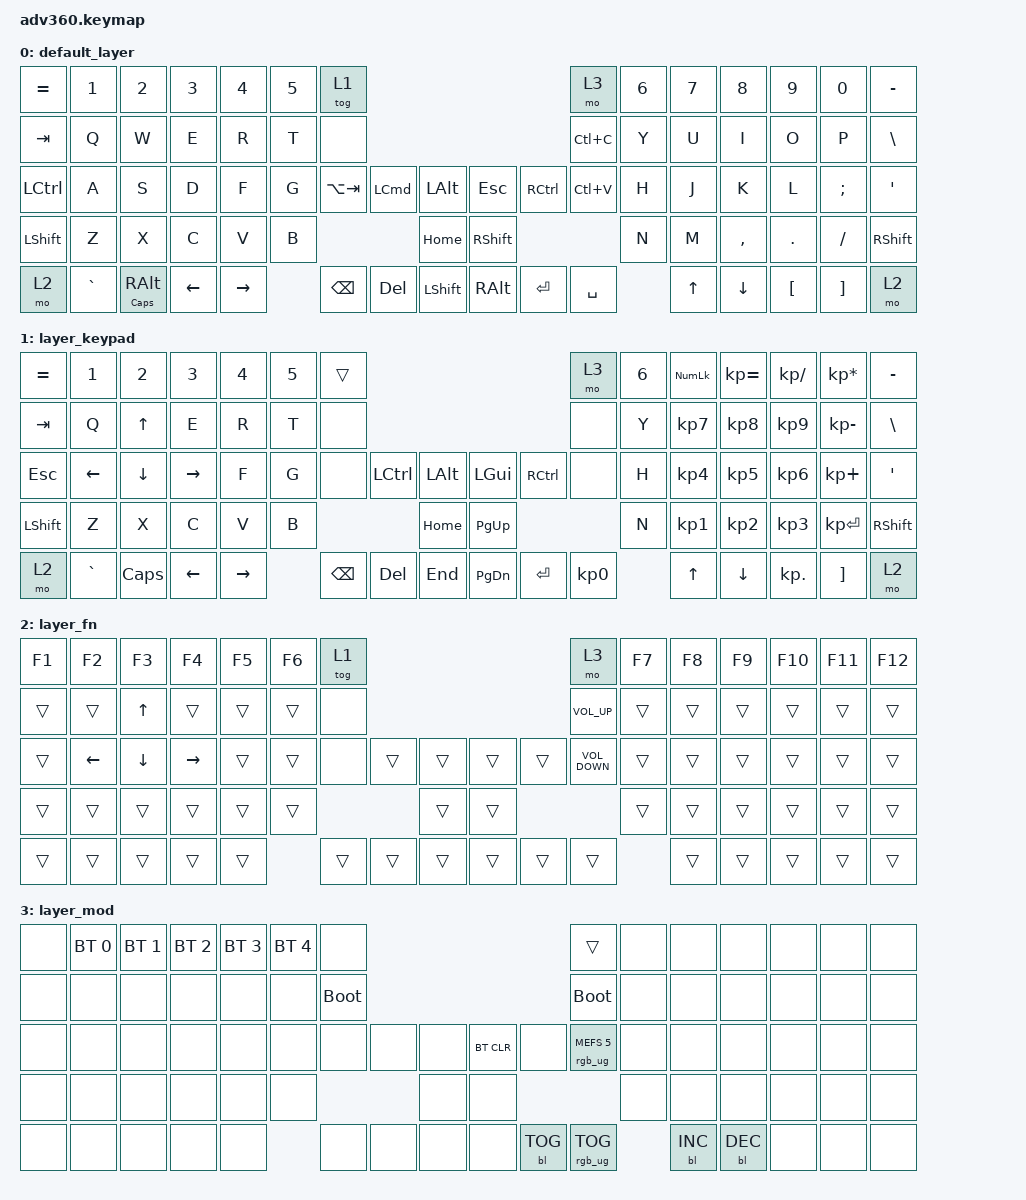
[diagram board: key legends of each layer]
/*
 * Copyright (c) 2020 The ZMK Contributors
 *
 * SPDX-License-Identifier: MIT
 */
/* THIS FILE WAS GENERATED!
 *
 * This file was generated automatically. You may or may not want to
 * edit it directly.
 */

#include <behaviors.dtsi>
#include <dt-bindings/zmk/backlight.h>
#include <dt-bindings/zmk/bt.h>
#include <dt-bindings/zmk/keys.h>
#include <dt-bindings/zmk/rgb.h>

/ {
    behaviors {
        #include "macros.dtsi"
    #include "version.dtsi"

        hm: homerow_mods {
            compatible = "zmk,behavior-hold-tap";
            label = "HOMEROW_MODS";
            #binding-cells = <2>;
            tapping-term-ms = <200>;
            quick_tap_ms = <150>;
            flavor = "tap-preferred";
            bindings = <&kp>, <&kp>;
        };
    };

    combos {
        compatible = "zmk,combos";

        questionmark_kl {
            bindings = <&kp QUESTION>;
            key-positions = <42 43>;
        };

        exclamationmark_sd {
            bindings = <&kp EXCLAMATION>;
            key-positions = <30 31>;
        };
    };

    keymap {
        compatible = "zmk,keymap";

        default_layer {
            bindings = <
&kp EQUAL  &kp N1     &kp N2              &kp N3    &kp N4     &kp N5  &tog 1                                                                           &mo 3      &kp N6  &kp N7  &kp N8     &kp N9    &kp N0    &kp MINUS
&kp TAB    &kp Q      &kp W               &kp E     &kp R      &kp T   &none                                                                            &kp LC(C)  &kp Y   &kp U   &kp I      &kp O     &kp P     &kp BSLH
&kp LCTRL  &kp A      &kp S               &kp D     &kp F      &kp G   &kp LA(TAB)    &kp LEFT_COMMAND  &kp LEFT_ALT        &kp ESCAPE       &kp RCTRL  &kp LC(V)  &kp H   &kp J   &kp K      &kp L     &kp SEMI  &kp SQT
&kp LSHFT  &kp Z      &kp X               &kp C     &kp V      &kp B                                    &kp HOME            &kp RIGHT_SHIFT                        &kp N   &kp M   &kp COMMA  &kp DOT   &kp FSLH  &kp RSHFT
&mo 2      &kp GRAVE  &mt CAPS RIGHT_ALT  &kp LEFT  &kp RIGHT          &kp BACKSPACE  &kp DEL           &kp LEFT_SHIFT      &kp RIGHT_ALT    &kp ENTER  &kp SPACE          &kp UP  &kp DOWN   &kp LBKT  &kp RBKT  &mo 2
            >;
        };

        layer_keypad {
            bindings = <
&kp EQUAL  &kp N1     &kp N2        &kp N3     &kp N4     &kp N5  &trans                                                   &mo 3      &kp N6  &kp KP_NUM  &kp KP_EQUAL  &kp KP_DIVIDE  &kp KP_MULTIPLY  &kp MINUS
&kp TAB    &kp Q      &kp UP_ARROW  &kp E      &kp R      &kp T   &none                                                    &none      &kp Y   &kp KP_N7   &kp KP_N8     &kp KP_N9      &kp KP_MINUS     &kp BSLH
&kp ESC    &kp LEFT   &kp DOWN      &kp RIGHT  &kp F      &kp G   &none     &kp LCTRL  &kp LALT      &kp LGUI   &kp RCTRL  &none      &kp H   &kp KP_N4   &kp KP_N5     &kp KP_N6      &kp KP_PLUS      &kp SQT
&kp LSHFT  &kp Z      &kp X         &kp C      &kp V      &kp B                        &kp HOME      &kp PG_UP                        &kp N   &kp KP_N1   &kp KP_N2     &kp KP_N3      &kp KP_ENTER     &kp RSHFT
&mo 2      &kp GRAVE  &kp CAPS      &kp LEFT   &kp RIGHT          &kp BSPC  &kp DEL    &kp END       &kp PG_DN  &kp ENTER  &kp KP_N0          &kp UP      &kp DOWN      &kp KP_DOT     &kp RBKT         &mo 2
            >;
        };

        layer_fn {
            bindings = <
&kp F1  &kp F2    &kp F3        &kp F4     &kp F5  &kp F6  &tog 1                                      &mo 3              &kp F7  &kp F8  &kp F9  &kp F10  &kp F11  &kp F12
&trans  &trans    &kp UP_ARROW  &trans     &trans  &trans  &none                                       &kp C_VOLUME_UP    &trans  &trans  &trans  &trans   &trans   &trans
&trans  &kp LEFT  &kp DOWN      &kp RIGHT  &trans  &trans  &none   &trans  &trans      &trans  &trans  &kp C_VOLUME_DOWN  &trans  &trans  &trans  &trans   &trans   &trans
&trans  &trans    &trans        &trans     &trans  &trans                  &trans      &trans                             &trans  &trans  &trans  &trans   &trans   &trans
&trans  &trans    &trans        &trans     &trans          &trans  &trans  &trans      &trans  &trans  &trans                     &trans  &trans  &trans   &trans   &trans
            >;
        };

        layer_mod {
            bindings = <
&none  &bt BT_SEL 0  &bt BT_SEL 1  &bt BT_SEL 2  &bt BT_SEL 3  &bt BT_SEL 4  &none                                                  &trans                  &none  &none       &none       &none  &none  &none
&none  &none         &none         &none         &none         &none         &bootloader                                            &bootloader             &none  &none       &none       &none  &none  &none
&none  &none         &none         &none         &none         &none         &none        &none  &none      &bt BT_CLR  &none       &rgb_ug RGB_MEFS_CMD 5  &none  &none       &none       &none  &none  &none
&none  &none         &none         &none         &none         &none                             &none      &none                                           &none  &none       &none       &none  &none  &none
&none  &none         &none         &none         &none                       &none        &none  &none      &none       &bl BL_TOG  &rgb_ug RGB_TOG                &bl BL_INC  &bl BL_DEC  &none  &none  &none
            >;
        };
    };
};
